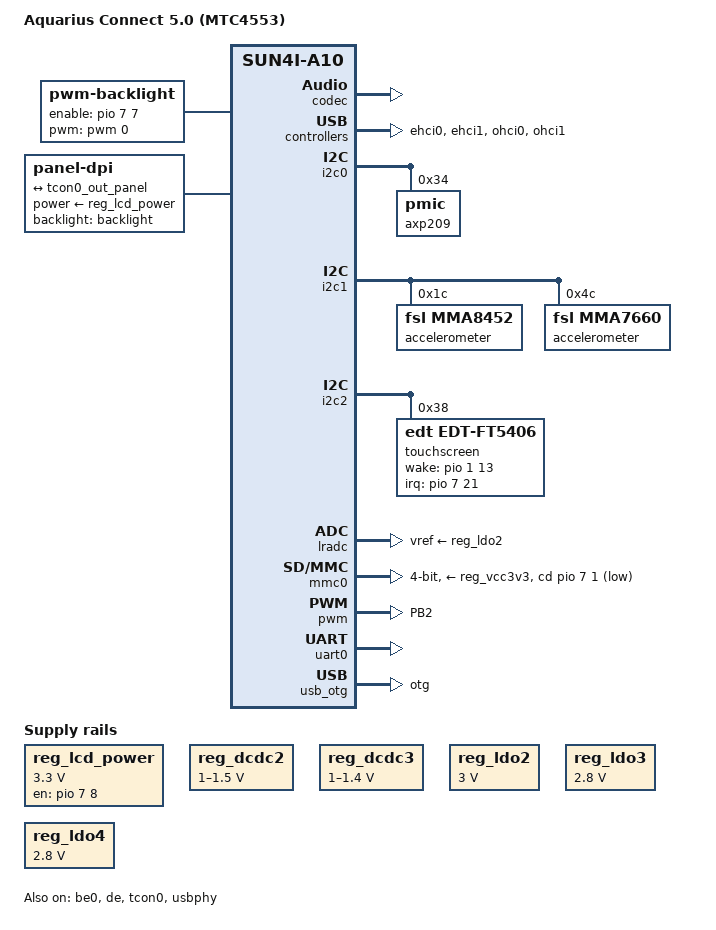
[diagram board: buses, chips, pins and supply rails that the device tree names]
// SPDX-License-Identifier: (GPL-2.0+ OR MIT)
/*
 * Aquarius Connect 5.0 / Guia Quatro Rodas (placa MTC4553, "A10-EVB-V13", board_ver 113).
 * Cada valor abaixo vem do script.bin de fabrica (analise/script.fex) ou do driver
 * original do Android; o mapa completo esta em analise/mapa-port.md.
 */

/dts-v1/;
#include "sun4i-a10.dtsi"
#include "sunxi-common-regulators.dtsi"
#include <dt-bindings/gpio/gpio.h>
#include <dt-bindings/input/input.h>
#include <dt-bindings/interrupt-controller/irq.h>
#include <dt-bindings/pwm/pwm.h>

/ {
	model = "Aquarius Connect 5.0 (MTC4553)";
	compatible = "aquarius,mtc4553", "allwinner,sun4i-a10";

	aliases {
		serial0 = &uart0;
	};

	chosen {
		stdout-path = "serial0:115200n8";
	};

	/* fex [lcd0_para]: lcd_pwm PB02 (pwm0), 12 kHz, lcd_pwm_pol = 1; lcd_bl_en PH07 */
	backlight: backlight {
		compatible = "pwm-backlight";
		pwms = <&pwm 0 83333 PWM_POLARITY_INVERTED>;
		brightness-levels = <0 2 4 8 16 32 64 128 255>;
		default-brightness-level = <7>;
		enable-gpios = <&pio 7 7 GPIO_ACTIVE_HIGH>; /* PH7 */
	};

	/* fex [lcd0_para]: lcd_power PH08 */
	reg_lcd_power: regulator-lcd-power {
		compatible = "regulator-fixed";
		regulator-name = "lcd-power";
		regulator-min-microvolt = <3300000>;
		regulator-max-microvolt = <3300000>;
		gpio = <&pio 7 8 GPIO_ACTIVE_HIGH>; /* PH8 */
		enable-active-high;
	};

	/*
	 * fex [lcd0_para]: 800x480, dclk 33 MHz, ht 928, hbp 79, vt 1050 (= 2 x 525
	 * linhas no formato Allwinner), vbp 29, hspw/vspw 0 (= 1 ciclo).
	 * hbp/vbp do fex incluem o pulso de sincronismo.
	 */
	panel: panel {
		compatible = "panel-dpi";
		power-supply = <&reg_lcd_power>;
		backlight = <&backlight>;
		width-mm = <108>;
		height-mm = <65>;

		panel-timing {
			clock-frequency = <29250000>;	/* 60,04 Hz (928x525); 33 MHz dava 67,7 Hz e os jogos de 60 Hz trepidavam */
			hactive = <800>;
			vactive = <480>;
			hsync-len = <1>;
			hback-porch = <78>;
			hfront-porch = <49>;
			vsync-len = <1>;
			vback-porch = <28>;
			vfront-porch = <16>;
			hsync-active = <0>;
			vsync-active = <0>;
			de-active = <1>;
			pixelclk-active = <1>;
		};

		port {
			panel_input: endpoint {
				remote-endpoint = <&tcon0_out_panel>;
			};
		};
	};
};

&be0 {
	status = "okay";
};

/* fex [audio_para]: audio_used = 1, capture_used = 1, amplificador em PH15 */
&codec {
	allwinner,pa-gpios = <&pio 7 15 GPIO_ACTIVE_HIGH>; /* PH15 */
	status = "okay";
};

/*
 * Mesma tabela do sun4i-a10.dtsi (624-1008 MHz) no formato v2, mais 1104 MHz como "turbo-mode":
 * o kernel so usa com /sys/devices/system/cpu/cpufreq/boost = 1, que nasce desligado (todo boot
 * comeca em ate 1008). Quem liga e o aquarius-turbo, com trava (06/11/2026).
 * 1200 MHz @ 1,5 V (o maximo do regulador) ERRA CONTA: stress-ng --verify 1 falha e memtester
 * 17 falhas em 06/11/2026. Nao acrescentar.
 */
/ {
	cpu0_opp: opp-table-cpu {
		compatible = "operating-points-v2";

		opp-624000000 {
			opp-hz = /bits/ 64 <624000000>;
			opp-microvolt = <1250000>;
			clock-latency-ns = <244144>;
		};
		opp-864000000 {
			opp-hz = /bits/ 64 <864000000>;
			opp-microvolt = <1300000>;
			clock-latency-ns = <244144>;
		};
		opp-912000000 {
			opp-hz = /bits/ 64 <912000000>;
			opp-microvolt = <1350000>;
			clock-latency-ns = <244144>;
		};
		opp-1008000000 {
			opp-hz = /bits/ 64 <1008000000>;
			opp-microvolt = <1400000>;
			clock-latency-ns = <244144>;
		};
		opp-1104000000 {
			opp-hz = /bits/ 64 <1104000000>;
			opp-microvolt = <1450000>;
			clock-latency-ns = <244144>;
			turbo-mode;
		};
	};
};

&cpu0 {
	cpu-supply = <&reg_dcdc2>;
	/delete-property/ operating-points;
	operating-points-v2 = <&cpu0_opp>;
};

&de {
	status = "okay";
};

&ehci0 {
	status = "okay";
};

/* usbc2 = Wi-Fi RTL8188CUS interno (fex [usb_wifi_para] usb_wifi_usbc_num = 2) */
&ehci1 {
	status = "okay";
};

/* fex [pmu_para]: AXP209 em twi0, endereco 52 (0x34), irq NMI */
&i2c0 {
	status = "okay";

	axp209: pmic@34 {
		reg = <0x34>;
		interrupts = <0>;
	};
};

/* twi1: acelerometro (MMA7660 / MMA8452) e radio FM do Android */
&i2c1 {
	status = "okay";

	/*
	 * O Android carrega mma7660 e mma8452 e usa o que responder ("gsensor").
	 * Os dois ficam declarados; o ausente so falha o probe.
	 */
	accelerometer@1c {
		compatible = "fsl,mma8452";
		reg = <0x1c>; /* fex [gsensor_para] gsensor_twi_addr */
	};

	accelerometer@4c {
		compatible = "fsl,mma7660";
		reg = <0x4c>; /* endereco fixo do MMA7660 */
	};
};

/* fex [ctp_para]: ft5x_ts em twi2 0x38, INT PH21, wakeup PB13, X/Y trocados */
&i2c2 {
	status = "okay";

	touchscreen@38 {
		compatible = "edt,edt-ft5406";
		reg = <0x38>;
		interrupt-parent = <&pio>;
		interrupts = <7 21 IRQ_TYPE_EDGE_FALLING>; /* PH21 / EINT21 */
		/*
		 * fex ctp_wakeup = PB13<1><default><default><1>: saida em nivel ALTO com o chip acordado.
		 * Com ACTIVE_LOW o driver punha o pino em nivel baixo e o chip nao respondia (04/11).
		 */
		wake-gpios = <&pio 1 13 GPIO_ACTIVE_HIGH>; /* PB13 */
		touchscreen-size-x = <480>;
		touchscreen-size-y = <800>;
		touchscreen-swapped-x-y;
	};
};

/*
 * Botoes do LRADC: tabela sun4i_scankeycodes_113 do sun4i-keyboard.ko (board_ver 113)
 * e keypad_mapindex: nivel 0-7 -> MENU, 8-14 -> BACK (LRADC de 6 bits, vref 2,0 V).
 */
&lradc {
	vref-supply = <&reg_ldo2>;
	status = "okay";

	button-100 {
		label = "Menu";
		linux,code = <KEY_MENU>;
		channel = <0>;
		voltage = <100000>;
	};

	button-350 {
		label = "Back";
		linux,code = <KEY_BACK>;
		channel = <0>;
		voltage = <350000>;
	};
};

/*
 * fex [mmc0_para]: 4 bits, deteccao em PH01 sdc_det = port:PH01<0><1>: entrada COM pull-up.
 * Sem o pull-up o pino flutua e o Linux pode achar que nao ha cartao (no QEMU o pino nao existe).
 */
&mmc0 {
	vmmc-supply = <&reg_vcc3v3>;
	bus-width = <4>;
	cd-gpios = <&pio 7 1 (GPIO_ACTIVE_LOW | GPIO_PULL_UP)>; /* PH1 */
	status = "okay";
};

&ohci0 {
	status = "okay";
};

&ohci1 {
	status = "okay";
};

&otg_sram {
	status = "okay";
};

&pio {
	lcd_rgb888_pins: lcd-rgb888-pins {
		pins = "PD0", "PD1", "PD2", "PD3", "PD4", "PD5",
		       "PD6", "PD7", "PD8", "PD9", "PD10", "PD11",
		       "PD12", "PD13", "PD14", "PD15", "PD16", "PD17",
		       "PD18", "PD19", "PD20", "PD21", "PD22", "PD23",
		       "PD24", "PD25", "PD26", "PD27";
		function = "lcd0";
	};

	pwm0_pin: pwm0-pin {
		pins = "PB2";
		function = "pwm";
	};
};

&pwm {
	pinctrl-names = "default";
	pinctrl-0 = <&pwm0_pin>;
	status = "okay";
};

/* fex [usbc0] usb_drv_vbus_gpio PB09; [usbc1] PH06; [usbc2] PH03 (alimenta o Wi-Fi) */
&reg_usb0_vbus {
	status = "okay";
};

&reg_usb1_vbus {
	status = "okay";
};

&reg_usb2_vbus {
	regulator-boot-on;
	status = "okay";
};

&tcon0 {
	pinctrl-names = "default";
	pinctrl-0 = <&lcd_rgb888_pins>;
	status = "okay";
};

&tcon0_out {
	tcon0_out_panel: endpoint@0 {
		reg = <0>;
		remote-endpoint = <&panel_input>;
	};
};

/* fex [uart_para0]: console em PB22/PB23, 115200 */
&uart0 {
	pinctrl-names = "default";
	pinctrl-0 = <&uart0_pb_pins>;
	status = "okay";
};

&usb_otg {
	dr_mode = "otg";
	status = "okay";
};

/* fex [usbc0]: id PH04, deteccao de VBUS PH05 */
&usbphy {
	usb0_id_det-gpios = <&pio 7 4 (GPIO_ACTIVE_HIGH | GPIO_PULL_UP)>; /* PH4 */
	usb0_vbus_det-gpios = <&pio 7 5 (GPIO_ACTIVE_HIGH | GPIO_PULL_DOWN)>; /* PH5 */
	usb0_vbus_power-supply = <&usb_power_supply>;
	usb0_vbus-supply = <&reg_usb0_vbus>;
	usb1_vbus-supply = <&reg_usb1_vbus>;
	usb2_vbus-supply = <&reg_usb2_vbus>;
	status = "okay";
};

#include "axp209.dtsi"

&ac_power_supply {
	status = "okay";
};

/* fex [pmu_para]: bateria de 1200 mAh, corte em 3,3 V */
&battery_power_supply {
	status = "okay";
};

/* fex [target]: dcdc2 1,40 V (CPU), dcdc3 1,25 V, ldo2 3,0 V, ldo3/ldo4 2,8 V */
&reg_dcdc2 {
	regulator-always-on;
	regulator-min-microvolt = <1000000>;
	regulator-max-microvolt = <1500000>;
	regulator-name = "vdd-cpu";
};

&reg_dcdc3 {
	regulator-always-on;
	regulator-min-microvolt = <1000000>;
	regulator-max-microvolt = <1400000>;
	regulator-name = "vdd-int-dll";
};

&reg_ldo1 {
	regulator-name = "vdd-rtc";
};

&reg_ldo2 {
	regulator-always-on;
	regulator-min-microvolt = <3000000>;
	regulator-max-microvolt = <3000000>;
	regulator-name = "avcc";
};

&reg_ldo3 {
	regulator-min-microvolt = <2800000>;
	regulator-max-microvolt = <2800000>;
	regulator-name = "ldo3";
};

&reg_ldo4 {
	regulator-min-microvolt = <2800000>;
	regulator-max-microvolt = <2800000>;
	regulator-name = "ldo4";
};

&usb_power_supply {
	status = "okay";
};
